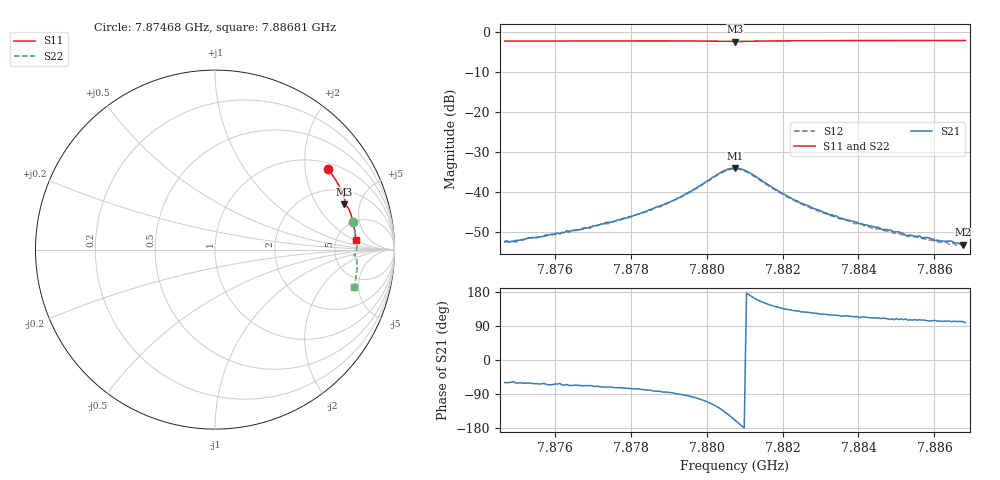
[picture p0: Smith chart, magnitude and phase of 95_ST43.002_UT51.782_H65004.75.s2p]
#  HZ  S  DB  R  50.00
! Rohde & Schwarz Vector Network Analyzer
! Rohde-Schwarz,ZNB20-2Port,1311601062101988,3.16
! Created: UTC 1/12/2023, 6:36:16 PM
! freq[Hz]  db:S11  ang:S11  db:S21  ang:S21  db:S12  ang:S12  db:S22  ang:S22
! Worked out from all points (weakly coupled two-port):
!   201 points, 7.87468 GHz to 7.88681 GHz, reference 50 ohm
!   highest |S21| = -34.02 dB at 7.88075 GHz (marker M1); lowest = -53.3 dB at 7.88675 GHz (marker M2)
!   lowest |S11| = -2.3 dB at 7.88075 GHz (marker M3), VSWR 7.44, Z = 147 + j178 ohm
!   |S11| at or under -10 dB: nowhere
!   |S22| runs from -2.2 to -1.9 dB; largest |S21 - S12| = 0.0014
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7.874684e9  -2.24 35.4  -52.46 -59.4  -52.62 -60.7  -2.14 11.4
7.874987e9  -2.23 34.6  -52.14 -61.0  -52.60 -62.0  -2.13 10.6
7.87529e9  -2.22 33.7  -51.66 -60.7  -51.48 -63.6  -2.12 9.9
7.875472e9  -2.22 33.3  -51.45 -62.6  -51.67 -64.4  -2.12 9.5
7.876139e9  -2.21 31.4  -50.54 -61.8  -50.37 -68.0  -2.10 7.9
7.876321e9  -2.21 30.9  -49.68 -64.5  -49.94 -68.9  -2.09 7.5
7.876746e9  -2.20 29.8  -49.09 -68.3  -49.36 -70.7  -2.09 6.4
7.87802e9  -2.19 26.3  -46.24 -75.6  -46.09 -79.8  -2.05 3.5
7.878748e9  -2.18 24.2  -43.60 -82.5  -43.75 -85.8  -2.05 1.8
7.879597e9  -2.21 21.8  -39.88 -96.9  -39.92 -100.0  -2.07 -0.3
7.880446e9  -2.32 19.6  -34.74 -134.7  -34.97 -138.0  -2.17 -2.1
7.880749e9  -2.35 19.4  -34.02 -158.9  -34.19 -162.4  -2.21 -2.3
7.881113e9  -2.30 19.0  -35.08 172.3  -35.26 168.9  -2.16 -2.5
7.882084e9  -2.17 16.4  -40.80 133.9  -41.03 131.3  -2.02 -4.6
7.882811e9  -2.13 14.4  -44.11 123.6  -44.26 120.5  -1.98 -6.2
7.883903e9  -2.11 11.5  -47.52 114.5  -47.98 110.2  -1.95 -8.8
7.884813e9  -2.10 9.1  -49.58 106.9  -49.83 104.5  -1.94 -10.8
7.885237e9  -2.10 8.0  -50.90 108.4  -50.75 103.7  -1.93 -11.8
7.885601e9  -2.09 7.0  -51.00 106.3  -51.40 102.4  -1.93 -12.5
7.886026e9  -2.09 5.9  -52.19 104.3  -52.39 98.6  -1.93 -13.4
7.886754e9  -2.08 4.0  -53.26 100.8  -53.48 98.6  -1.91 -15.0
7.886814e9  -2.08 3.8  -53.22 98.6  -53.60 99.6  -1.92 -15.2
